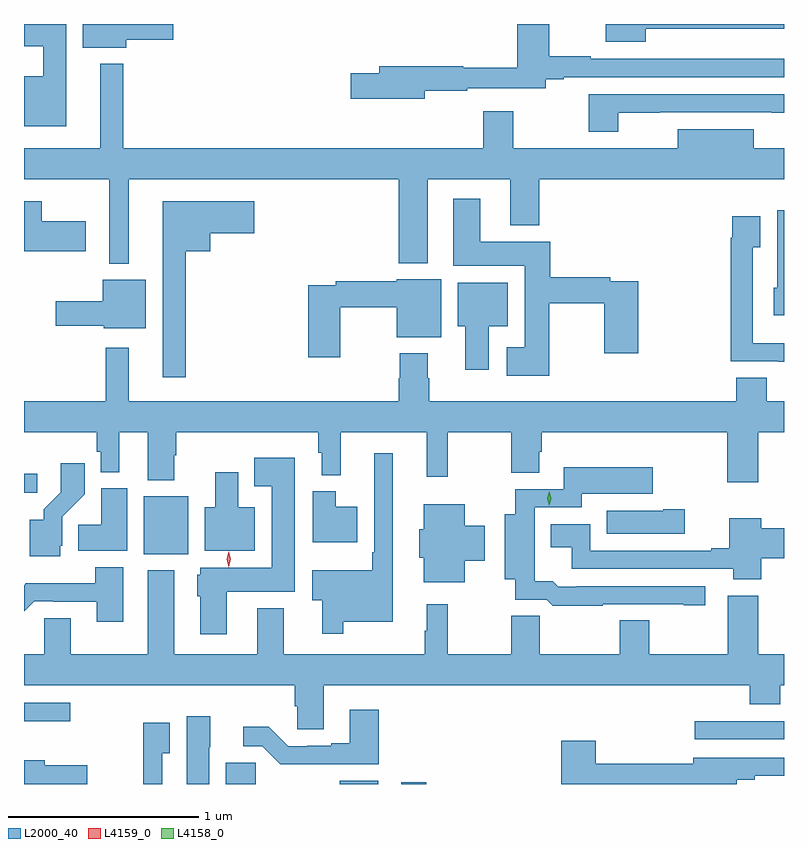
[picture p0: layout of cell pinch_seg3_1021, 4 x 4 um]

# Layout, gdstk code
import gdstk
lib = gdstk.Library(unit=1e-6, precision=1e-09)
def R(c, l, rs):  # rectangles x0, y0, x1, y1
    for r in rs: c.add(gdstk.rectangle(r[:2], r[2:], *l))
def P(c, l, *ps):  # polygons
    for p in ps: c.add(gdstk.Polygon(p, *l))
L2000_40 = (2000, 40)
L4158_0 = (4158, 0)
L4159_0 = (4159, 0)

pinch_seg3_1021 = lib.new_cell('pinch_seg3_1021')
R(pinch_seg3_1021, L2000_40, [(574.49,692.405,574.646,692.517), (575.09,692.405,575.292,692.422), (575.412,692.405,575.545,692.414), (576.957,692.64,577.427,692.736), (573.427,692.735,573.67,692.832), (574.058,693.614,574.291,693.919), (573.427,693.939,573.496,694.038)])
P(pinch_seg3_1021, L2000_40, [(575.536,696.054),(575.759,696.054),(575.759,696.066),(576.172,696.066),(576.172,696.114),(576.268,696.114),(576.268,696.126),(577.427,696.126),(577.427,696.223),(576.796,696.223),(576.796,696.222),(576.41,696.222),(576.41,696.235),(576.192,696.235),(576.192,696.405),(576.023,696.405),(576.023,696.175),(575.739,696.175),(575.739,696.182),(575.297,696.182),(575.297,696.146),(575.148,696.146),(575.148,696.011),(575.536,696.011)],
  [(573.964,696.323),(574.213,696.323),(574.213,696.405),(573.737,696.405),(573.737,696.281),(573.964,696.281)],
  [(576.7,696.38),(577.427,696.38),(577.427,696.405),(576.488,696.405),(576.488,696.311),(576.7,696.311)],
  [(573.649,696.405),(573.528,696.405),(573.528,696.404),(573.427,696.404),(573.427,696.287),(573.528,696.287),(573.528,696.13),(573.427,696.13),(573.427,695.867),(573.649,695.867)],
  [(573.979,695.588),(575.399,695.588),(575.399,695.147),(575.551,695.147),(575.551,695.588),(575.987,695.588),(575.987,695.345),(576.14,695.345),(576.14,695.588),(577.427,695.588),(577.427,695.752),(577.267,695.752),(577.267,695.851),(576.869,695.851),(576.869,695.752),(576.003,695.752),(576.003,695.947),(575.843,695.947),(575.843,695.752),(573.949,695.752),(573.949,696.196),(573.827,696.196),(573.827,695.752),(573.427,695.752),(573.427,695.588),(573.875,695.588),(573.875,695.144),(573.979,695.144)],
  [(576.555,695.939),(576.773,695.939),(576.773,695.94),(577.363,695.94),(577.363,695.939),(577.427,695.939),(577.427,696.036),(576.4,696.036),(576.4,695.838),(576.555,695.838)],
  [(576.192,694.936),(576.481,694.936),(576.481,694.671),(576.659,694.671),(576.659,695.052),(576.512,695.052),(576.512,695.072),(576.197,695.072),(576.197,695.26),(575.827,695.26),(575.827,695.485),(575.687,695.485),(575.687,695.132),(576.062,695.132),(576.062,694.705),(575.967,694.705),(575.967,694.553),(576.192,694.553)],
  [(573.751,695.368),(573.52,695.368),(573.52,695.473),(573.427,695.473),(573.427,695.21),(573.751,695.21)],
  [(574.279,695.21),(574.408,695.21),(574.408,695.303),(574.639,695.303),(574.639,695.473),(574.157,695.473),(574.157,694.545),(574.279,694.545)],
  [(577.427,695.425),(577.391,695.425),(577.391,695.016),(577.373,695.016),(577.373,694.872),(577.427,694.872)],
  [(577.427,694.726),(577.263,694.726),(577.263,695.231),(577.303,695.231),(577.303,695.392),(577.155,695.392),(577.155,695.279),(577.147,695.279),(577.147,694.629),(577.397,694.629),(577.397,694.628),(577.427,694.628)],
  [(575.092,694.915),(575.39,694.915),(575.39,694.757),(575.623,694.757),(575.623,695.062),(575.39,695.062),(575.39,695.051),(575.068,695.051),(575.068,695.031),(574.922,695.031),(574.922,694.65),(575.092,694.65)],
  [(574.069,695.059),(573.842,695.059),(573.842,694.945),(573.594,694.945),(573.594,694.816),(573.846,694.816),(573.846,694.805),(574.069,694.805)],
  [(575.872,694.814),(575.974,694.814),(575.974,695.044),(575.711,695.044),(575.711,694.814),(575.75,694.814),(575.75,694.584),(575.872,694.584)],
  [(577.292,694.256),(577.427,694.256),(577.427,694.42),(577.335,694.42),(577.335,694.544),(577.175,694.544),(577.175,694.42),(575.559,694.42),(575.559,694.541),(575.551,694.541),(575.551,694.672),(575.404,694.672),(575.404,694.541),(575.399,694.541),(575.399,694.42),(573.979,694.42),(573.979,694.702),(573.858,694.702),(573.858,694.42),(573.427,694.42),(573.427,694.256),(573.811,694.256),(573.811,694.155),(573.831,694.155),(573.831,694.046),(573.928,694.046),(573.928,694.256),(574.079,694.256),(574.079,694.004),(574.219,694.004),(574.219,694.136),(574.227,694.136),(574.227,694.256),(574.975,694.256),(574.975,694.149),(574.994,694.149),(574.994,694.031),(575.093,694.031),(575.093,694.256),(575.546,694.256),(575.546,694.023),(575.656,694.023),(575.656,694.256),(575.992,694.256),(575.992,694.042),(576.139,694.042),(576.139,694.155),(576.152,694.155),(576.152,694.256),(577.127,694.256),(577.127,693.993),(577.292,693.993)],
  [(575.107,693.26),(575.368,693.26),(575.368,694.147),(575.271,694.147),(575.271,693.625),(575.259,693.625),(575.259,693.529),(574.944,693.529),(574.944,693.371),(574.997,693.371),(574.997,693.195),(575.107,693.195)],
  [(574.495,693.416),(574.852,693.416),(574.852,694.123),(574.64,694.123),(574.64,693.971),(574.73,693.971),(574.73,693.544),(574.355,693.544),(574.355,693.507),(574.34,693.507),(574.34,693.393),(574.355,693.393),(574.355,693.192),(574.495,693.192)],
  [(573.619,693.66),(573.627,693.66),(573.627,693.811),(573.746,693.93),(573.746,694.093),(573.621,694.093),(573.621,693.941),(573.53,693.851),(573.53,693.796),(573.458,693.796),(573.458,693.603),(573.619,693.603)],
  [(576.473,693.351),(576.899,693.351),(576.899,693.346),(577.012,693.346),(577.012,693.447),(576.337,693.447),(576.337,693.444),(576.238,693.444),(576.21,693.472),(576.114,693.472),(576.114,693.861),(576.363,693.861),(576.363,693.932),(576.736,693.932),(576.736,694.072),(576.267,694.072),(576.267,693.957),(576.013,693.957),(576.013,693.826),(575.957,693.826),(575.957,693.482),(576.013,693.482),(576.013,693.375),(576.177,693.375),(576.209,693.344),(576.473,693.344)],
  [(574.642,693.862),(574.555,693.862),(574.555,694.045),(574.433,694.045),(574.433,693.862),(574.379,693.862),(574.379,693.632),(574.642,693.632)],
  [(573.97,693.961),(573.833,693.961),(573.833,693.77),(573.712,693.77),(573.712,693.632),(573.97,693.632)],
  [(575.182,693.865),(575.068,693.865),(575.068,693.946),(574.946,693.946),(574.946,693.677),(575.182,693.677)],
  [(575.746,693.581),(575.851,693.581),(575.851,693.764),(575.746,693.764),(575.746,693.877),(575.531,693.877),(575.531,693.747),(575.507,693.747),(575.507,693.597),(575.531,693.597),(575.531,693.467),(575.746,693.467)],
  [(576.904,693.852),(576.791,693.852),(576.791,693.844),(576.493,693.844),(576.493,693.722),(576.904,693.722)],
  [(577.307,693.593),(577.427,693.593),(577.427,693.751),(577.307,693.751),(577.307,693.805),(577.139,693.805),(577.139,693.646),(577.043,693.646),(577.043,693.633),(576.408,693.633),(576.408,693.772),(576.199,693.772),(576.199,693.65),(576.311,693.65),(576.311,693.537),(577.16,693.537),(577.16,693.482),(577.307,693.482)],
  [(573.949,693.547),(573.802,693.547),(573.802,693.461),(573.437,693.461),(573.427,693.451),(573.427,693.313),(573.48,693.366),(573.58,693.366),(573.58,693.363),(573.809,693.363),(573.809,693.258),(573.949,693.258)],
  [(575.005,692.924),(577.247,692.924),(577.247,692.825),(577.407,692.825),(577.407,692.924),(577.427,692.924),(577.427,693.088),(577.292,693.088),(577.292,693.397),(577.132,693.397),(577.132,693.088),(576.717,693.088),(576.717,693.266),(576.562,693.266),(576.562,693.088),(576.142,693.088),(576.142,693.29),(575.992,693.29),(575.992,693.088),(575.656,693.088),(575.656,693.352),(575.546,693.352),(575.546,693.212),(575.535,693.212),(575.535,693.088),(574.795,693.088),(574.795,693.331),(574.655,693.331),(574.655,693.088),(574.219,693.088),(574.219,693.529),(574.079,693.529),(574.079,693.088),(573.673,693.088),(573.673,693.278),(573.534,693.278),(573.534,693.088),(573.427,693.088),(573.427,692.924),(574.853,692.924),(574.853,692.814),(574.866,692.814),(574.866,692.692),(575.005,692.692)],
  [(575.294,692.797),(575.141,692.797),(575.141,692.62),(575.045,692.62),(575.045,692.607),(574.918,692.607),(574.918,692.604),(574.818,692.604),(574.716,692.707),(574.581,692.707),(574.581,692.604),(574.68,692.604),(574.775,692.51),(575.294,692.51)],
  [(574.402,692.598),(574.408,692.598),(574.408,692.761),(574.283,692.761),(574.283,692.405),(574.402,692.405)],
  [(574.155,692.567),(574.195,692.567),(574.195,692.728),(574.054,692.728),(574.054,692.405),(574.155,692.405)],
  [(577.177,692.428),(577.273,692.428),(577.273,692.448),(577.427,692.448),(577.427,692.544),(576.95,692.544),(576.95,692.512),(576.437,692.512),(576.437,692.632),(576.254,692.632),(576.254,692.405),(577.177,692.405)],
  [(573.76,692.503),(573.537,692.503),(573.537,692.53),(573.427,692.53),(573.427,692.405),(573.76,692.405)])
P(pinch_seg3_1021, L4158_0, [(576.191,693.872),(576.191,693.872),(576.181,693.908),(576.191,693.944),(576.191,693.945),(576.191,693.944),(576.201,693.908),(576.191,693.872)])
P(pinch_seg3_1021, L4159_0, [(574.505,693.546),(574.504,693.547),(574.494,693.587),(574.504,693.627),(574.504,693.627),(574.504,693.627),(574.514,693.587),(574.505,693.547)])

lib.write_gds('pinch_seg3_1021.gds')
